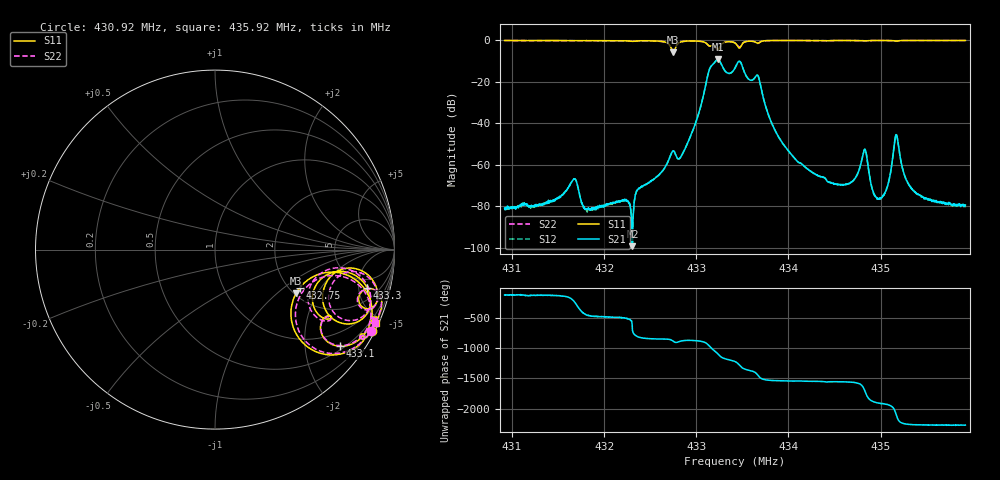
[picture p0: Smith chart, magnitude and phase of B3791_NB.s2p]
! Matrix data file written by TouchstoneData, EPCOS AG
! FILENAME: "B3791_SB.s2p"
! COMMENT: "Lk=47nH SIMID"
! INFO: nport=2, nfreq=1601
! DATE: "Wed Sep 19 15:42:20 2012"
! USER: "Wilfried Schott"
! port | pin | signal
!  1  |  2  |  IN
!  2  |  5  |  OUT
!  3  |  7  |  Coupling coil
# MHZ S MA R 50
! freq  magS11 angS11  magS21 angS21  magS12 angS12  magS22 angS22
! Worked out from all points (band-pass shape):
!   1601 points, 430.92 MHz to 435.92 MHz, reference 50 ohm
!   highest |S21| = -9.20 dB at 433.23 MHz (marker M1); lowest = -99.3 dB at 432.31 MHz (marker M2)
!   |S21| within 3 dB of the highest: 433.1673 MHz to 433.2773 MHz (110 kHz wide, 0.0254 % of centre); 433.4333 MHz to 433.496 MHz (62.72 kHz wide, 0.0145 % of centre)
!   lowest |S11| = -5.8 dB at 432.75 MHz (marker M3), VSWR 3.11, Z = 103 - j67.6 ohm
!   |S11| at or under -10 dB: nowhere
!   |S22| runs from -5.3 to -0.1 dB; largest |S21 - S12| = 0.0018
!   S11 on the Smith chart (normalised r, x): 430.92 MHz: 0.15, -4.09; 432.75 MHz: 2.25, -1.31; 433.1 MHz: 0.58, -2.83; 433.3 MHz: 3.47, -6.21; 435.92 MHz: 0.16, -4.57
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430.92  0.9834 -27.5  8.932e-05 -117.3  8.978e-05 -116.4  0.9812 -27.6
431.6731  0.9756 -28.6  0.0004612 138.9  0.0004504 137.9  0.9732 -28.7
431.7544  0.9775 -28.4  0.0001207 -31.8  0.0001208 -30.5  0.9743 -28.5
432.3075  0.9393 -30.6  1.09e-05 10.9  1.346e-05 -3.0  0.941 -30.8
432.5888  0.9513 -35.5  0.0005533 -127.4  0.0005491 -126.7  0.9454 -35.6
432.7513  0.5131 -28.2  0.002168 -165.1  0.002152 -165.9  0.5402 -27.0
432.7544  0.5172 -24.4  0.002162 -168.2  0.002132 -169.5  0.5454 -24.0
432.8638  0.9402 -21.4  0.002084 -152.6  0.002066 -152.5  0.9347 -21.6
433.095  0.882 -37.7  0.07005 174.3  0.0698 174.5  0.8759 -37.6
433.2325  0.5948 -22.6  0.3467 -12.6  0.345 -12.6  0.569 -23.1
433.2981  0.8736 -14.1  0.2013 -87.3  0.2002 -87.2  0.8661 -12.8
433.42  0.8559 -28.9  0.2141 -141.1  0.213 -141.0  0.8611 -27.3
433.6669  0.8433 -17.8  0.1418 -5.8  0.141 -5.7  0.8377 -18.1
433.8919  0.9833 -20.4  0.004706 -99.5  0.004685 -99.6  0.9819 -20.4
434.2544  0.9848 -22.9  0.0006629 -109.0  0.0006625 -108.6  0.9832 -22.9
434.6481  0.9849 -23.7  0.0003489 -121.0  0.0003469 -120.4  0.9832 -23.7
434.8263  0.9644 -24.0  0.002338 102.6  0.002336 102.1  0.9638 -24.2
434.9513  0.9845 -23.8  0.0001649 -101.9  0.0001652 -100.1  0.9826 -23.9
435.0888  0.983 -24.5  0.0003975 -139.9  0.0003985 -140.9  0.9811 -24.6
435.17  0.9498 -24.0  0.005315 52.6  0.005274 52.3  0.9507 -23.8
435.37  0.9853 -24.1  0.0002225 -109.4  0.0002217 -108.8  0.9836 -24.2
435.92  0.9854 -24.7  0.0001065 -114.9  9.39e-05 -114.4  0.9835 -24.7
